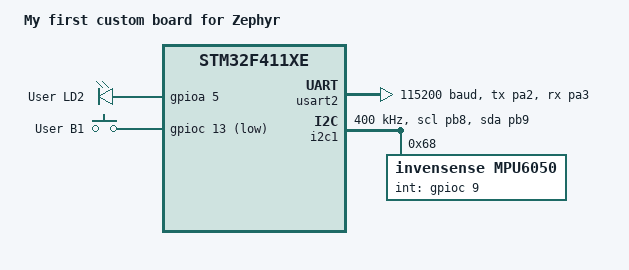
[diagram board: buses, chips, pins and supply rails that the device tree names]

/dts-v1/;
#include <st/f4/stm32f411Xe.dtsi>
#include <st/f4/stm32f411r(c-e)tx-pinctrl.dtsi>

/ {
	model = "My first custom board for Zephyr";
	compatible = "kczewo-inc,custom-board";

	chosen {
		zephyr,console = &usart2;
		zephyr,shell-uart = &usart2;
		zephyr,sram = &sram0;
		zephyr,flash = &flash0;
	};

	leds {
		compatible = "gpio-leds";
		green_led_2: led_2 {
			gpios = <&gpioa 5 GPIO_ACTIVE_HIGH>;
			label = "User LD2";
		};
	};

	gpio_keys {
		compatible = "gpio-keys";
		user_button: button {
			label = "User B1";
			gpios = <&gpioc 13 GPIO_ACTIVE_LOW>;
		};
	};

	aliases {
		led0 = &green_led_2;
		sw0 = &user_button;
	};
};

&pll {
	div-m = <8>;
	mul-n = <100>;
	div-p = <2>;
	div-q = <4>;
	clocks = <&clk_hsi>;
	status = "okay";
};

&rcc {
	clocks = <&pll>;
	clock-frequency = <DT_FREQ_M(100)>;
	ahb-prescaler = <1>;
	apb1-prescaler = <2>;
	apb2-prescaler = <1>;
};

&usart2 {
	pinctrl-0 = <&usart2_tx_pa2 &usart2_rx_pa3>;
	pinctrl-names = "default";
	current-speed = <115200>;
	status = "okay";
};

&i2c1 {
	pinctrl-0 = <&i2c1_scl_pb8 &i2c1_sda_pb9>;
	pinctrl-names = "default";
	clock-frequency = <I2C_BITRATE_FAST>;
	status = "okay";

	mpu6050@68 {
		compatible = "invensense,mpu6050";
		reg = <0x68>;
		status = "okay";
		int-gpios = <&gpioc 9 GPIO_ACTIVE_HIGH>;
	};
};
